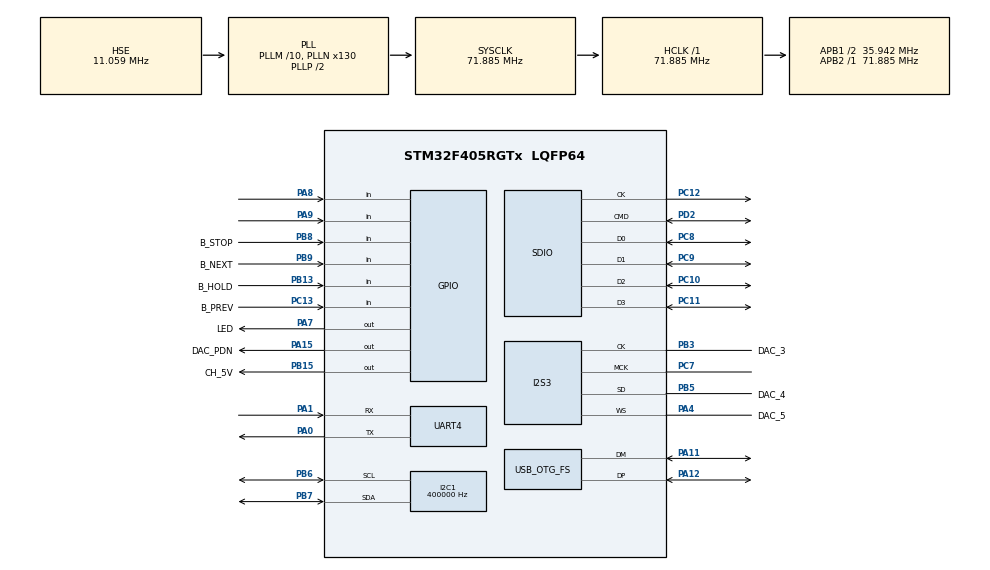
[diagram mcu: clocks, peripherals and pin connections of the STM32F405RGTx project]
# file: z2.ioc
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Dma.I2C1_TX.0.Direction=DMA_MEMORY_TO_PERIPH
Dma.I2C1_TX.0.FIFOMode=DMA_FIFOMODE_DISABLE
Dma.I2C1_TX.0.Instance=DMA1_Stream6
Dma.I2C1_TX.0.MemDataAlignment=DMA_MDATAALIGN_BYTE
Dma.I2C1_TX.0.MemInc=DMA_MINC_ENABLE
Dma.I2C1_TX.0.Mode=DMA_NORMAL
Dma.I2C1_TX.0.PeriphDataAlignment=DMA_PDATAALIGN_BYTE
Dma.I2C1_TX.0.PeriphInc=DMA_PINC_DISABLE
Dma.I2C1_TX.0.Priority=DMA_PRIORITY_MEDIUM
Dma.Request0=I2C1_TX
Dma.Request1=SPI3_TX
Dma.SPI3_TX.1.Direction=DMA_MEMORY_TO_PERIPH
Dma.SPI3_TX.1.FIFOMode=DMA_FIFOMODE_ENABLE
Dma.SPI3_TX.1.FIFOThreshold=DMA_FIFO_THRESHOLD_FULL
Dma.SPI3_TX.1.Instance=DMA1_Stream5
Dma.SPI3_TX.1.MemBurst=DMA_MBURST_SINGLE
Dma.SPI3_TX.1.MemDataAlignment=DMA_MDATAALIGN_HALFWORD
Dma.SPI3_TX.1.MemInc=DMA_MINC_ENABLE
Dma.SPI3_TX.1.Mode=DMA_CIRCULAR
Dma.SPI3_TX.1.PeriphBurst=DMA_PBURST_SINGLE
Dma.SPI3_TX.1.PeriphDataAlignment=DMA_PDATAALIGN_HALFWORD
Dma.SPI3_TX.1.PeriphInc=DMA_PINC_DISABLE
Dma.SPI3_TX.1.Priority=DMA_PRIORITY_LOW
FREERTOS.Tasks01=defaultTask,0,2048,StartDefaultTask,Default,NULL,Dynamic,NULL,NULL;guiThread,-3,2048,guiStart,Default,NULL,Dynamic,NULL,NULL
FREERTOS.configMINIMAL_STACK_SIZE=512
FREERTOS.configTOTAL_HEAP_SIZE=20000
FREERTOS.configUSE_COUNTING_SEMAPHORES=1
I2C1.ClockSpeed=400000
I2C1.I2C_Mode=I2C_Fast
I2S3.AudioFreq=I2S_AUDIOFREQ_48K
I2S3.ErrorAudioFreq=-0.1 %
I2S3.FullDuplexMode=I2S_FULLDUPLEXMODE_DISABLE
I2S3.Instance=SPI$Index
I2S3.RealAudioFreq=47.952 KHz
I2S3.Standard=I2S_STANDARD_LSB
I2S3.VirtualMode=I2S_MODE_MASTER
Mcu.Family=STM32F4
Mcu.Name=STM32F405RGTx
Mcu.Package=LQFP64
NVIC.DMA1_Stream5_IRQn=true\:5\:0\:false\:false\:true\:true
NVIC.DMA1_Stream6_IRQn=true\:5\:0\:false\:false\:true\:true
NVIC.I2C1_ER_IRQn=true\:5\:0\:false\:false\:true\:true
NVIC.I2C1_EV_IRQn=true\:5\:0\:false\:false\:true\:true
NVIC.PriorityGroup=NVIC_PRIORITYGROUP_4
NVIC.SDIO_IRQn=true\:5\:0\:false\:false\:true\:true
NVIC.SPI3_IRQn=true\:0\:0\:false\:false\:true\:false
NVIC.TIM8_TRG_COM_TIM14_IRQn=true\:0\:0\:false\:false\:true\:false
NVIC.TimeBase=TIM8_TRG_COM_TIM14_IRQn
NVIC.TimeBaseIP=TIM14
PA0-WKUP.Mode=Asynchronous
PA0-WKUP.Signal=UART4_TX
PA1.Mode=Asynchronous
PA1.Signal=UART4_RX
PA11.Mode=Device_Only
PA11.Signal=USB_OTG_FS_DM
PA12.Mode=Device_Only
PA12.Signal=USB_OTG_FS_DP
PA13.Mode=Serial_Wire
PA13.Signal=SYS_JTMS-SWDIO
PA14.Mode=Serial_Wire
PA14.Signal=SYS_JTCK-SWCLK
PA15.GPIO_Label=DAC_PDN
PA15.Signal=GPIO_Output
PA4.GPIO_Label=DAC_5
PA4.Mode=Half_Duplex_Master
PA4.Signal=I2S3_WS
PA7.GPIO_Label=LED
PA7.Signal=GPIO_Output
PA8.Signal=GPIO_Input
PA9.Signal=GPIO_Input
PB13.GPIO_Label=B_HOLD
PB13.GPIO_PuPd=GPIO_PULLUP
PB13.Signal=GPIO_Input
PB15.GPIO_Label=CH_5V
PB15.Signal=GPIO_Output
PB3.GPIO_Label=DAC_3
PB3.Mode=Half_Duplex_Master
PB3.Signal=I2S3_CK
PB5.GPIO_Label=DAC_4
PB5.Mode=Half_Duplex_Master
PB5.Signal=I2S3_SD
PB6.Mode=I2C
PB6.Signal=I2C1_SCL
PB7.Mode=I2C
PB7.Signal=I2C1_SDA
PB8.GPIO_Label=B_STOP
PB8.GPIO_PuPd=GPIO_PULLUP
PB8.Signal=GPIO_Input
PB9.GPIO_Label=B_NEXT
PB9.GPIO_PuPd=GPIO_PULLUP
PB9.Signal=GPIO_Input
PC10.GPIO_PuPd=GPIO_PULLUP
PC10.Mode=SD_4_bits_Wide_bus
PC10.Signal=SDIO_D2
PC11.GPIO_PuPd=GPIO_PULLUP
PC11.Mode=SD_4_bits_Wide_bus
PC11.Signal=SDIO_D3
PC12.GPIO_PuPd=GPIO_PULLUP
PC12.Mode=SD_4_bits_Wide_bus
PC12.Signal=SDIO_CK
PC13-ANTI_TAMP.GPIO_Label=B_PREV
PC13-ANTI_TAMP.GPIO_PuPd=GPIO_PULLUP
PC13-ANTI_TAMP.Signal=GPIO_Input
PC7.Mode=Master_Clock_Activated
PC7.Signal=I2S3_MCK
PC8.GPIO_PuPd=GPIO_PULLUP
PC8.Mode=SD_4_bits_Wide_bus
PC8.Signal=SDIO_D0
PC9.GPIO_PuPd=GPIO_PULLUP
PC9.Mode=SD_4_bits_Wide_bus
PC9.Signal=SDIO_D1
PD2.GPIO_PuPd=GPIO_PULLUP
PD2.Mode=SD_4_bits_Wide_bus
PD2.Signal=SDIO_CMD
PH0-OSC_IN.Mode=HSE-External-Oscillator
PH0-OSC_IN.Signal=RCC_OSC_IN
PH1-OSC_OUT.Mode=HSE-External-Oscillator
PH1-OSC_OUT.Signal=RCC_OSC_OUT
ProjectManager.HeapSize=0x0000
ProjectManager.StackSize=0x4000
ProjectManager.TargetToolchain=SW4STM32
RCC.48MHZClocksFreq_Value=47923200
RCC.AHBFreq_Value=71884800
RCC.APB1CLKDivider=RCC_HCLK_DIV2
RCC.APB1Freq_Value=35942400
RCC.APB1TimFreq_Value=71884800
RCC.APB2Freq_Value=71884800
RCC.APB2TimFreq_Value=71884800
RCC.CortexFreq_Value=71884800
RCC.HCLKFreq_Value=71884800
RCC.HSE_VALUE=11059200
RCC.HSI_VALUE=16000000
RCC.LSE_VALUE=32768
RCC.PLLI2SN=222
RCC.PLLI2SR=5
RCC.PLLM=10
RCC.PLLN=130
RCC.PLLQ=3
RCC.SYSCLKFreq_VALUE=71884800
RCC.SYSCLKSource=RCC_SYSCLKSOURCE_PLLCLK
RCC.VCOOutputFreq_Value=143769600
SDIO.ClockDiv=4
UART4.VirtualMode=Asynchronous
USB_OTG_FS.VirtualMode=Device_Only
VP_FREERTOS_VS_ENABLE.Mode=Enabled
VP_SYS_VS_tim14.Mode=TIM14
board=z2

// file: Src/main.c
/**
  ******************************************************************************
  * File Name          : main.c
  * Description        : Main program body
  ******************************************************************************
  *
  * Copyright (c) 2017 STMicroelectronics International N.V.
  * All rights reserved.
  *
  * Redistribution and use in source and binary forms, with or without
  * modification, are permitted, provided that the following conditions are met:
  *
  * 1. Redistribution of source code must retain the above copyright notice,
  *    this list of conditions and the following disclaimer.
  * 2. Redistributions in binary form must reproduce the above copyright notice,
  *    this list of conditions and the following disclaimer in the documentation
  *    and/or other materials provided with the distribution.
  * 3. Neither the name of STMicroelectronics nor the names of other
  *    contributors to this software may be used to endorse or promote products
  *    derived from this software without specific written permission.
  * 4. This software, including modifications and/or derivative works of this
  *    software, must execute solely and exclusively on microcontroller or
  *    microprocessor devices manufactured by or for STMicroelectronics.
  * 5. Redistribution and use of this software other than as permitted under
  *    this license is void and will automatically terminate your rights under
  *    this license.
  *
  * THIS SOFTWARE IS PROVIDED BY STMICROELECTRONICS AND CONTRIBUTORS "AS IS"
  * AND ANY EXPRESS, IMPLIED OR STATUTORY WARRANTIES, INCLUDING, BUT NOT
  * LIMITED TO, THE IMPLIED WARRANTIES OF MERCHANTABILITY, FITNESS FOR A
  * PARTICULAR PURPOSE AND NON-INFRINGEMENT OF THIRD PARTY INTELLECTUAL PROPERTY
  * RIGHTS ARE DISCLAIMED TO THE FULLEST EXTENT PERMITTED BY LAW. IN NO EVENT
  * SHALL STMICROELECTRONICS OR CONTRIBUTORS BE LIABLE FOR ANY DIRECT, INDIRECT,
  * INCIDENTAL, SPECIAL, EXEMPLARY, OR CONSEQUENTIAL DAMAGES (INCLUDING, BUT NOT
  * LIMITED TO, PROCUREMENT OF SUBSTITUTE GOODS OR SERVICES; LOSS OF USE, DATA,
  * OR PROFITS; OR BUSINESS INTERRUPTION) HOWEVER CAUSED AND ON ANY THEORY OF
  * LIABILITY, WHETHER IN CONTRACT, STRICT LIABILITY, OR TORT (INCLUDING
  * NEGLIGENCE OR OTHERWISE) ARISING IN ANY WAY OUT OF THE USE OF THIS SOFTWARE,
  * EVEN IF ADVISED OF THE POSSIBILITY OF SUCH DAMAGE.
  *
  ******************************************************************************
  */
#include "main.h"
#include "stm32f4xx_hal.h"
#include "cmsis_os.h"
#include "dma.h"
#include "i2c.h"
#include "i2s.h"
#include "sdio.h"
#include "usart.h"
#include "usb_otg.h"
#include "gpio.h"

/* USER CODE BEGIN Includes */
#include "fatfs.h"
/* USER CODE END Includes */

/* USER CODE BEGIN PV */
/* Private variables ---------------------------------------------------------*/

/* USER CODE END PV */

void SystemClock_Config(void);
void Error_Handler(void);
void MX_FREERTOS_Init(void);

/* USER CODE BEGIN PFP */
/* Private function prototypes -----------------------------------------------*/

/* USER CODE END PFP */

int main(void)
{

  /* MCU Configuration----------------------------------------------------------*/

  /* Reset of all peripherals, Initializes the Flash interface and the Systick. */
  HAL_Init();

  /* Configure the system clock */
  SystemClock_Config();

  /* Initialize all configured peripherals */
  MX_GPIO_Init();
  MX_DMA_Init();
  MX_SDIO_SD_Init();
  MX_USB_OTG_FS_PCD_Init();
  MX_UART4_Init();
  MX_I2C1_Init();
  MX_I2S3_Init();

  /* USER CODE BEGIN 2 */
  HAL_GPIO_WritePin(LED_GPIO_Port, LED_Pin, GPIO_PIN_SET);
  MX_FATFS_Init();
  printf("\n-----\nstart Z2...\n");
  /* USER CODE END 2 */

  /* Call init function for freertos objects (in freertos.c) */
  MX_FREERTOS_Init();

  /* Start scheduler */
  osKernelStart();

  /* We should never get here as control is now taken by the scheduler */

  /* Infinite loop */
  while (1)
  {

  }

}

/** System Clock Configuration
*/
void SystemClock_Config(void)
{

  RCC_OscInitTypeDef RCC_OscInitStruct;
  RCC_ClkInitTypeDef RCC_ClkInitStruct;
  RCC_PeriphCLKInitTypeDef PeriphClkInitStruct;

    /**Configure the main internal regulator output voltage
    */
  __HAL_RCC_PWR_CLK_ENABLE();

  __HAL_PWR_VOLTAGESCALING_CONFIG(PWR_REGULATOR_VOLTAGE_SCALE1);

    /**Initializes the CPU, AHB and APB busses clocks
    */
  RCC_OscInitStruct.OscillatorType = RCC_OSCILLATORTYPE_HSE;
  RCC_OscInitStruct.HSEState = RCC_HSE_ON;
  RCC_OscInitStruct.PLL.PLLState = RCC_PLL_ON;
  RCC_OscInitStruct.PLL.PLLSource = RCC_PLLSOURCE_HSE;
  RCC_OscInitStruct.PLL.PLLM = 10;
  RCC_OscInitStruct.PLL.PLLN = 130;
  RCC_OscInitStruct.PLL.PLLP = RCC_PLLP_DIV2;
  RCC_OscInitStruct.PLL.PLLQ = 3;
  if (HAL_RCC_OscConfig(&RCC_OscInitStruct) != HAL_OK)
  {
    Error_Handler();
  }

    /**Initializes the CPU, AHB and APB busses clocks
    */
  RCC_ClkInitStruct.ClockType = RCC_CLOCKTYPE_HCLK|RCC_CLOCKTYPE_SYSCLK
                              |RCC_CLOCKTYPE_PCLK1|RCC_CLOCKTYPE_PCLK2;
  RCC_ClkInitStruct.SYSCLKSource = RCC_SYSCLKSOURCE_PLLCLK;
  RCC_ClkInitStruct.AHBCLKDivider = RCC_SYSCLK_DIV1;
  RCC_ClkInitStruct.APB1CLKDivider = RCC_HCLK_DIV2;
  RCC_ClkInitStruct.APB2CLKDivider = RCC_HCLK_DIV1;

  if (HAL_RCC_ClockConfig(&RCC_ClkInitStruct, FLASH_LATENCY_2) != HAL_OK)
  {
    Error_Handler();
  }

  PeriphClkInitStruct.PeriphClockSelection = RCC_PERIPHCLK_I2S;
  PeriphClkInitStruct.PLLI2S.PLLI2SN = 222;
  PeriphClkInitStruct.PLLI2S.PLLI2SR = 5;
  if (HAL_RCCEx_PeriphCLKConfig(&PeriphClkInitStruct) != HAL_OK)
  {
    Error_Handler();
  }

    /**Configure the Systick interrupt time
    */
  HAL_SYSTICK_Config(HAL_RCC_GetHCLKFreq()/1000);

    /**Configure the Systick
    */
  HAL_SYSTICK_CLKSourceConfig(SYSTICK_CLKSOURCE_HCLK);

  /* SysTick_IRQn interrupt configuration */
  HAL_NVIC_SetPriority(SysTick_IRQn, 15, 0);
}

void HAL_TIM_PeriodElapsedCallback(TIM_HandleTypeDef *htim)
{
  if (htim->Instance == TIM14) {
    HAL_IncTick();
  }
}

void Error_Handler(void)
{
  while(1)
  {
  }
}

/************************ (C) COPYRIGHT STMicroelectronics *****END OF FILE****/

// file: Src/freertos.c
/**
******************************************************************************
* File Name          : freertos.c
* Description        : Code for freertos applications
******************************************************************************
*
* Copyright (c) 2017 STMicroelectronics International N.V.
* All rights reserved.
*
* Redistribution and use in source and binary forms, with or without
* modification, are permitted, provided that the following conditions are met:
*
* 1. Redistribution of source code must retain the above copyright notice,
*    this list of conditions and the following disclaimer.
* 2. Redistributions in binary form must reproduce the above copyright notice,
*    this list of conditions and the following disclaimer in the documentation
*    and/or other materials provided with the distribution.
* 3. Neither the name of STMicroelectronics nor the names of other
*    contributors to this software may be used to endorse or promote products
*    derived from this software without specific written permission.
* 4. This software, including modifications and/or derivative works of this
*    software, must execute solely and exclusively on microcontroller or
*    microprocessor devices manufactured by or for STMicroelectronics.
* 5. Redistribution and use of this software other than as permitted under
*    this license is void and will automatically terminate your rights under
*    this license.
*
* THIS SOFTWARE IS PROVIDED BY STMICROELECTRONICS AND CONTRIBUTORS "AS IS"
* AND ANY EXPRESS, IMPLIED OR STATUTORY WARRANTIES, INCLUDING, BUT NOT
* LIMITED TO, THE IMPLIED WARRANTIES OF MERCHANTABILITY, FITNESS FOR A
* PARTICULAR PURPOSE AND NON-INFRINGEMENT OF THIRD PARTY INTELLECTUAL PROPERTY
* RIGHTS ARE DISCLAIMED TO THE FULLEST EXTENT PERMITTED BY LAW. IN NO EVENT
* SHALL STMICROELECTRONICS OR CONTRIBUTORS BE LIABLE FOR ANY DIRECT, INDIRECT,
* INCIDENTAL, SPECIAL, EXEMPLARY, OR CONSEQUENTIAL DAMAGES (INCLUDING, BUT NOT
* LIMITED TO, PROCUREMENT OF SUBSTITUTE GOODS OR SERVICES; LOSS OF USE, DATA,
* OR PROFITS; OR BUSINESS INTERRUPTION) HOWEVER CAUSED AND ON ANY THEORY OF
* LIABILITY, WHETHER IN CONTRACT, STRICT LIABILITY, OR TORT (INCLUDING
* NEGLIGENCE OR OTHERWISE) ARISING IN ANY WAY OUT OF THE USE OF THIS SOFTWARE,
* EVEN IF ADVISED OF THE POSSIBILITY OF SUCH DAMAGE.
*
******************************************************************************
*/

#include "FreeRTOS.h"
#include "task.h"
#include "cmsis_os.h"

/* USER CODE BEGIN Includes */
#include "i2s.h"
#include "sdio.h"
#include "usart.h"
#include "gpio.h"
#include "fatfs.h"
#include "string.h"
#include "gui.h"
#include "gui_controls.h"
#include "fm.h"
#include "warble.h"
#include "output.h"
/* USER CODE END Includes */

//osThreadId defaultTaskHandle;
osThreadId guiThreadHandle;

/* USER CODE BEGIN Variables */
FATFS fileSystem;
static char* err_msg = 0;
static MLable err_labl;

/* USER CODE END Variables */

void StartDefaultTask(void const * argument);
void guiStart(void const * argument);

void MX_FREERTOS_Init(void); /* (MISRA C 2004 rule 8.1) */

/* USER CODE BEGIN FunctionPrototypes */
static uint8_t addr = 0b0010000 << 1;

static void setr(uint8_t reg, uint8_t val)
{
    uint8_t tr[2] = {reg, val};
    HAL_I2C_Master_Transmit(&hi2c1, addr, tr, 2, 100);
}

static void init_error() //show error message with required err_msg
{
    gui_init();
    m_create_lable(&err_labl,
    		   host->host,
    		   mp_sall(0, 0, 20, 0),
    		   &ts_lable);
    m_lable_set_text(&err_labl, err_msg);

    SSD1306_UpdateScreen(mGui);
}

/* void start_warble() */
/* { */
/*     dmain(); */
/*     defaultTaskHandle = osThreadCreate(osThread(defaultTask), NULL); */
/* } */
/* USER CODE END FunctionPrototypes */

/* Hook prototypes */

/* Init FreeRTOS */

void MX_FREERTOS_Init(void) {
    /* USER CODE BEGIN Init */
    output_init();
    /* USER CODE END Init */

    /* Create the thread(s) */
    /* definition and creation of defaultTask */
    osThreadDef(guiThread, guiStart, osPriorityBelowNormal, 0, 512);
    guiThreadHandle = osThreadCreate(osThread(guiThread), NULL);

    /* definition and creation of guiThread */

}

/* StartDefaultTask function */
void StartDefaultTask(void const * argument)
{

    /* USER CODE BEGIN StartDefaultTask */
    //dmain();
    //vTaskDelete( NULL );
    /* USER CODE END StartDefaultTask */
}

/* guiStart function */
void guiStart(void const * argument)
{
    //dmain();
    /* USER CODE BEGIN guiStart */
    /* Infinite loop */
    printf("guiStart %s\n", SD_Path);
    FRESULT res;
    if((res = f_mount(&fileSystem, (TCHAR*)SD_Path, 1)) == FR_OK)
    {
    	printf("SD CARD OK\n");
    }
    else
    {
    	printf("no sd %d\n", res);
	err_msg = "NO SD!!!";
	init_error();
	for(;;);
    }

    HAL_GPIO_WritePin(DAC_PDN_GPIO_Port, DAC_PDN_Pin, GPIO_PIN_RESET);
    HAL_Delay(100);
    HAL_GPIO_WritePin(DAC_PDN_GPIO_Port, DAC_PDN_Pin, GPIO_PIN_SET);
    setr(0x00, 0b10000000);
    setr(0x01, 0b00100010);
    setr(0x02, 0b00010000);
    setr(0x03, 0b11111111);
    setr(0x04, 0b11111111);
    setr(0x05, 0b00000000);
    setr(0x06, 0b10000000);
    setr(0x00, 0b10000001);

    gui_init();
    gui_controls_init();
    system_windows_init();
    SSD1306_UpdateScreen(mGui);
    uint32_t led = 1;
    /* Infinite loop */
    for(;;)
    {
	gui_controls_update();
	if(xSemaphoreTake(SSD1306_semaphore, 1000) != pdTRUE)
	{
	    printf("sem_fail %d\n", led);
	}
	led = !led;
	ssd1306_send();
	makise_gui_input_perform(host);
	ssd1306_render();
    }
    /* USER CODE END guiStart */
}

/************************ (C) COPYRIGHT STMicroelectronics *****END OF FILE****/
